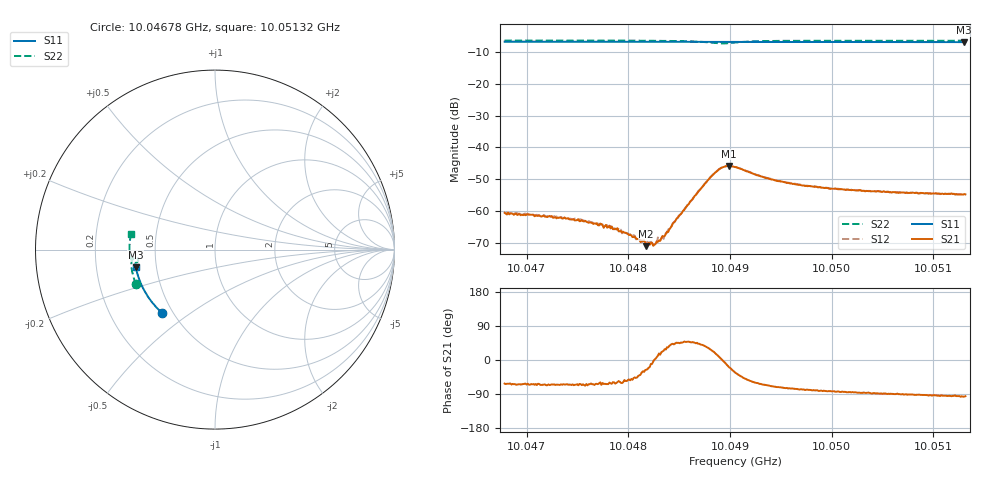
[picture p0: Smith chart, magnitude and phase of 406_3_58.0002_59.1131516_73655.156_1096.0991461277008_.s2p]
#  HZ  S  RI  R  50.00
! Rohde & Schwarz Vector Network Analyzer
! Rohde-Schwarz,ZNB20-2Port,1311601062101988,3.16
! Created: UTC 3/21/2024, 1:08:27 AM
! freq[Hz]  re:S11  im:S11  re:S21  im:S21  re:S12  im:S12  re:S22  im:S22
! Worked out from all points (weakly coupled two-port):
!   401 points, 10.04678 GHz to 10.05132 GHz, reference 50 ohm
!   highest |S21| = -45.82 dB at 10.04899 GHz (marker M1); lowest = -71.1 dB at 10.04818 GHz (marker M2)
!   lowest |S11| = -6.9 dB at 10.0513 GHz (marker M3), VSWR 2.65, Z = 19.1 - j4.7 ohm
!   |S11| at or under -10 dB: nowhere
!   |S22| runs from -7.3 to -6.4 dB; largest |S21 - S12| = 0.00039
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1.0046783e10  -0.2967 -0.3516  0.000437 -0.000829  0.000474 -0.000777  -0.4398 -0.1926
1.0047225e10  -0.3177 -0.3312  0.00034 -0.000765  0.00039 -0.000707  -0.4503 -0.1646
1.0047543e10  -0.3321 -0.3159  0.000291 -0.000661  0.000337 -0.000648  -0.4565 -0.1437
1.0047837e10  -0.3447 -0.3012  0.000262 -0.000506  0.000313 -0.000457  -0.4615 -0.1235
1.0048041e10  -0.3531 -0.2906  0.000239 -0.000308  0.000295 -0.000281  -0.4643 -0.1086
1.0048177e10  -0.3585 -0.2835  0.000253 -0.000121  0.000293 -9.68e-05  -0.4655 -0.0982
1.0048211e10  -0.3598 -0.2817  0.000279 -9.23e-05  0.000317 -6.58e-05  -0.4657 -0.0958
1.0048256e10  -0.3617 -0.2794  0.000294 2.97e-06  0.000298 6.33e-06  -0.4661 -0.0921
1.0048302e10  -0.3634 -0.277  0.000328 0.000103  0.000347 9.41e-05  -0.4661 -0.0884
1.0048358e10  -0.3656 -0.274  0.000355 0.000195  0.000373 0.000212  -0.4662 -0.0837
1.0048574e10  -0.3735 -0.2622  0.000795 0.000877  0.000739 0.000931  -0.4634 -0.0639
1.0048823e10  -0.3821 -0.2482  0.00324 0.00152  0.00316 0.00172  -0.4405 -0.0448
1.0048914e10  -0.385 -0.2434  0.00475 0.000276  0.00475 0.000534  -0.4286 -0.0534
1.0048993e10  -0.3874 -0.2388  0.00483 -0.0017  0.00496 -0.00135  -0.4308 -0.0669
1.004905e10  -0.3893 -0.2358  0.00412 -0.00266  0.00434 -0.00241  -0.4389 -0.0718
1.0049276e10  -0.3968 -0.2228  0.00176 -0.00319  0.00195 -0.00311  -0.464 -0.0588
1.0049458e10  -0.4023 -0.2122  0.000953 -0.00283  0.00118 -0.0028  -0.4711 -0.0426
1.0049809e10  -0.4121 -0.1913  0.00041 -0.0024  0.00058 -0.00238  -0.4757 -0.0145
1.0050126e10  -0.42 -0.172  0.000227 -0.00216  0.000333 -0.00214  -0.4764 0.00879
1.0050568e10  -0.4294 -0.1446  1.76e-05 -0.00197  0.000122 -0.00199  -0.4748 0.0395
1.0051305e10  -0.4414 -0.098  -0.000209 -0.00184  -7.49e-05 -0.00183  -0.4679 0.0885
1.0051316e10  -0.4416 -0.0973  -0.000177 -0.00182  -0.00012 -0.00184  -0.4679 0.0893
